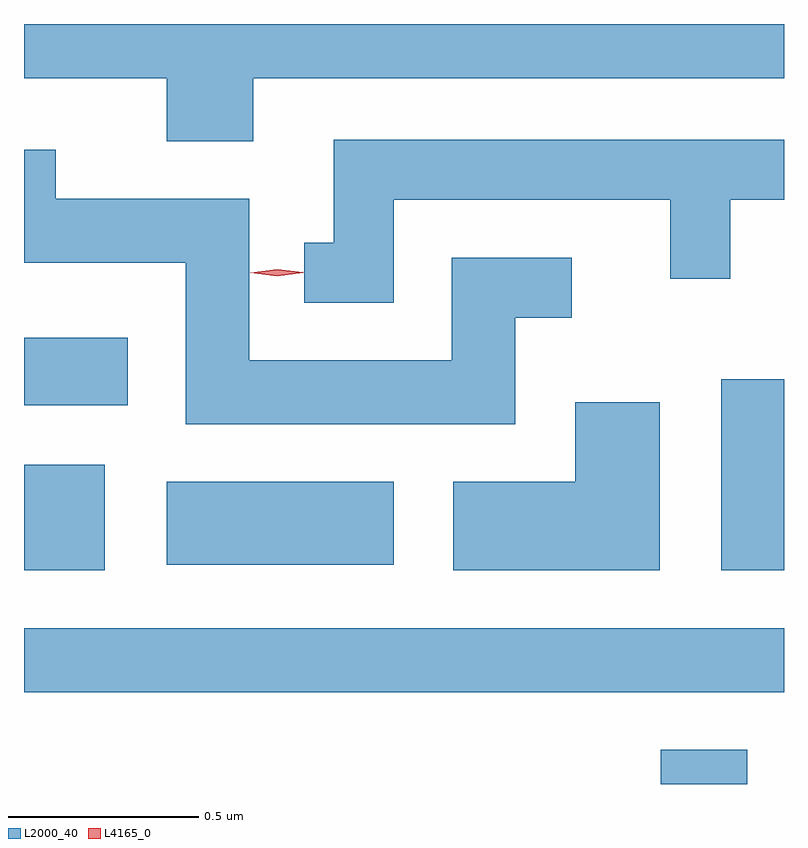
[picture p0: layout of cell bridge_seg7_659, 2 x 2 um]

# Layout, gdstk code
import gdstk
lib = gdstk.Library(unit=1e-6, precision=1e-09)
def R(c, l, rs):  # rectangles x0, y0, x1, y1
    for r in rs: c.add(gdstk.rectangle(r[:2], r[2:], *l))
def P(c, l, *ps):  # polygons
    for p in ps: c.add(gdstk.Polygon(p, *l))
L2000_40 = (2000, 40)
L4165_0 = (4165, 0)

bridge_seg7_659 = lib.new_cell('bridge_seg7_659')
R(bridge_seg7_659, L2000_40, [(640.941,1708.019,641.169,1708.109), (639.266,1708.261,641.266,1708.429), (639.266,1708.581,639.479,1708.859), (641.101,1708.581,641.266,1709.084), (639.641,1708.596,640.239,1708.814), (639.266,1709.016,639.539,1709.194)])
P(bridge_seg7_659, L2000_40, [(639.869,1709.876),(641.266,1709.876),(641.266,1710.019),(639.266,1710.019),(639.266,1709.876),(639.641,1709.876),(639.641,1709.711),(639.869,1709.711)],
  [(640.239,1709.556),(640.966,1709.556),(640.966,1709.348),(641.124,1709.348),(641.124,1709.556),(641.266,1709.556),(641.266,1709.714),(640.081,1709.714),(640.081,1709.444),(640.003,1709.444),(640.003,1709.286),(640.239,1709.286)],
  [(640.559,1709.246),(640.708,1709.246),(640.708,1709.404),(640.391,1709.404),(640.391,1709.134),(639.859,1709.134),(639.859,1709.559),(639.349,1709.559),(639.349,1709.688),(639.266,1709.688),(639.266,1709.391),(639.691,1709.391),(639.691,1708.966),(640.559,1708.966)],
  [(640.939,1709.024),(640.716,1709.024),(640.716,1708.814),(640.396,1708.814),(640.396,1708.581),(640.939,1708.581)])
P(bridge_seg7_659, L4165_0, [(639.932,1709.355),(639.862,1709.364),(639.862,1709.364),(639.862,1709.365),(639.932,1709.374),(640.001,1709.366),(640.001,1709.365),(640.001,1709.364)])

lib.write_gds('bridge_seg7_659.gds')
